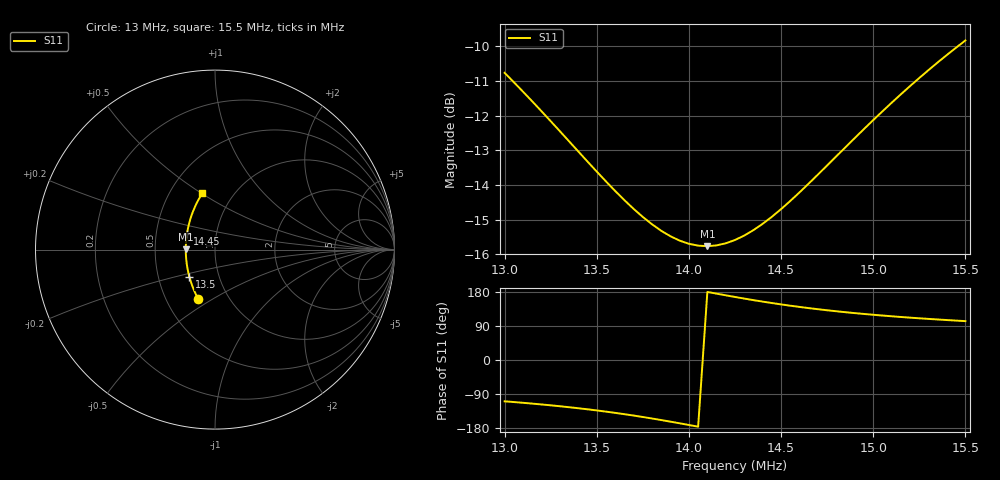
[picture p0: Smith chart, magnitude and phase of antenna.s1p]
! synthetic dipole-like antenna for e2e tests
# MHz S MA R 50
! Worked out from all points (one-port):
!   51 points, 13 MHz to 15.5 MHz, reference 50 ohm
!   lowest |S11| = -15.8 dB at 14.1 MHz (marker M1), VSWR 1.39, Z = 36 + j0.0944 ohm
!   |S11| at or under -10 dB: start of sweep to 15.46 MHz
!   S11 on the Smith chart (normalised r, x): 13 MHz: 0.72, -0.43; 13.5 MHz: 0.72, -0.23; 14.45 MHz: 0.72, +0.13; 15.5 MHz: 0.72, +0.51
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13  0.2895 -109.0
13.2  0.2549 -117.3
13.35  0.2306 -124.6
13.5  0.2086 -133.1
13.65  0.1897 -143.0
13.75  0.1794 -150.4
13.8  0.175 -154.4
13.85  0.1713 -158.5
13.9  0.1682 -162.7
13.95  0.1658 -167.1
14  0.1641 -171.5
14.05  0.1631 -176.0
14.1  0.1628 179.6
14.15  0.1632 175.1
14.2  0.1644 170.7
14.25  0.1662 166.3
14.3  0.1686 162.1
14.35  0.1717 158.0
14.4  0.1753 154.1
14.45  0.1795 150.3
14.5  0.1841 146.7
14.6  0.1946 140.0
14.75  0.2129 131.2
14.9  0.2332 123.7
15.05  0.2548 117.3
15.2  0.2771 111.8
15.35  0.2998 106.9
15.5  0.3224 102.6
